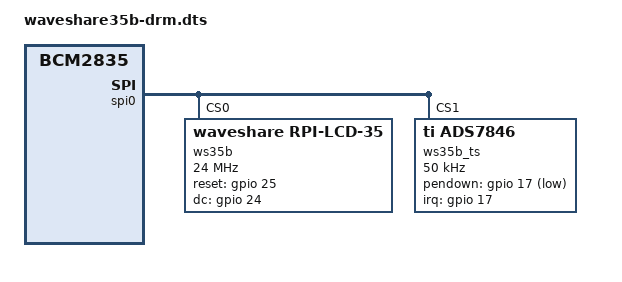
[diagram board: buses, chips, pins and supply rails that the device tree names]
/*
 * Waveshare 3.5" RPi LCD (B) (ILI9486 + ADS7846 touch) on the kernel's DRM driver.
 *
 * Waveshare's own overlay (waveshare35b-v2) uses the old fbtft framebuffer driver, which the
 * Wayland kiosk (cage) can't draw on. The same panel works with the mainline tinydrm "ili9486"
 * driver (compatible "waveshare,rpi-lcd-35"), which shows up as a normal /dev/dri/card device.
 * Pins are taken from Waveshare's overlay: DC = GPIO24, RESET = GPIO25,
 * touch pen-down = GPIO17, display on CE0, touch on CE1. SPI runs at 24 MHz (works on
 * the real Pi 3 B+; Waveshare uses 15 MHz). If the screen stays white, add ",speed=15000000"
 * to the dtoverlay line in config.txt.
 *
 * Built and installed by deploy/screen.sh:
 *   dtc -@ -I dts -O dtb -o waveshare35b-drm.dtbo waveshare35b-drm.dts
 */
/dts-v1/;
/plugin/;

/ {
	compatible = "brcm,bcm2835";

	fragment@0 {
		target = <&spi0>;
		__overlay__ {
			status = "okay";
		};
	};

	fragment@1 {
		target = <&spidev0>;
		__overlay__ {
			status = "disabled";
		};
	};

	fragment@2 {
		target = <&spidev1>;
		__overlay__ {
			status = "disabled";
		};
	};

	fragment@3 {
		target = <&gpio>;
		__overlay__ {
			ws35b_pins: ws35b_pins {
				brcm,pins = <17 25 24>;
				brcm,function = <0 1 1>; /* in out out */
			};
		};
	};

	fragment@4 {
		target = <&spi0>;
		__overlay__ {
			#address-cells = <1>;
			#size-cells = <0>;

			ws35b: display@0 {
				compatible = "waveshare,rpi-lcd-35", "ilitek,ili9486";
				reg = <0>;
				pinctrl-names = "default";
				pinctrl-0 = <&ws35b_pins>;
				spi-max-frequency = <24000000>;
				/* 180 = the same landscape orientation as Waveshare's "rotate=90" (MADCTL 0x28) */
				rotation = <180>;
				reset-gpios = <&gpio 25 0>; /* active high for the DRM driver */
				dc-gpios = <&gpio 24 0>;
			};

			ws35b_ts: touch@1 {
				compatible = "ti,ads7846";
				reg = <1>;
				spi-max-frequency = <50000>;
				interrupts = <17 2>; /* falling edge */
				interrupt-parent = <&gpio>;
				pendown-gpio = <&gpio 17 1>; /* active low */
				ti,x-plate-ohms = /bits/ 16 <60>;
				ti,y-plate-ohms = /bits/ 16 <60>;
				ti,pressure-max = /bits/ 16 <255>;
			};
		};
	};

	__overrides__ {
		speed = <&ws35b>, "spi-max-frequency:0";
		rotation = <&ws35b>, "rotation:0";
	};
};
